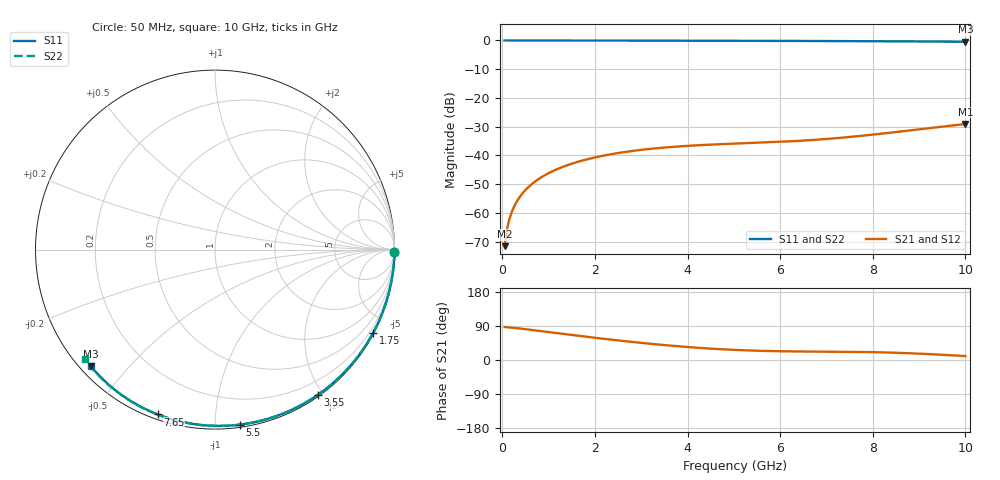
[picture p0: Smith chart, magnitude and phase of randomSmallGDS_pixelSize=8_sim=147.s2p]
! freq	dB(S11)	phase(S11)	dB(S12)	phase(S12)
!  dB(S21)	phase(S21)	dB(S22)	phase(S22)
!S-par simulation data
#  GHz  S  DB  R 50
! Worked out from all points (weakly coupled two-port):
!   200 points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, 50 MHz to 10 GHz, reference 50 ohm
!   highest |S21| = -29.08 dB at 10 GHz (marker M1); lowest = -71.6 dB at 50 MHz (marker M2)
!   lowest |S11| = -0.5 dB at 10 GHz (marker M3), VSWR 38.25, Z = 1.51 - j19.7 ohm
!   |S11| at or under -10 dB: nowhere
!   |S22| runs from -0.5 to 0.0 dB; largest |S21 - S12| = 0
!   S11 on the Smith chart (normalised r, x): 50 MHz: open; 1.75 GHz: 0.04, -4.06; 3.55 GHz: 0.02, -1.93; 5.5 GHz: 0.02, -1.15; 7.65 GHz: 0.02, -0.71; 10 GHz: 0.03, -0.39
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0.05  -0.00 -0.8  -71.60 87.3  -71.60 87.3  -0.00 -0.8
0.1  -0.00 -1.6  -65.79 86.4  -65.79 86.4  -0.00 -1.7
0.15  -0.00 -2.4  -62.37 85.9  -62.37 85.9  -0.00 -2.5
0.2  -0.00 -3.2  -59.92 85.4  -59.92 85.4  -0.00 -3.3
0.25  -0.00 -4.0  -58.01 84.8  -58.01 84.8  -0.00 -4.1
0.35  -0.00 -5.6  -55.12 83.5  -55.12 83.5  -0.00 -5.8
0.5  -0.01 -8.0  -52.06 81.4  -52.06 81.4  -0.01 -8.2
0.7  -0.01 -11.2  -49.19 78.3  -49.19 78.3  -0.01 -11.5
1  -0.02 -16.0  -46.19 73.7  -46.19 73.7  -0.02 -16.4
1.35  -0.03 -21.5  -43.74 68.3  -43.74 68.3  -0.03 -22.0
1.75  -0.04 -27.7  -41.71 62.3  -41.71 62.3  -0.04 -28.4
2.5  -0.05 -39.2  -39.18 51.7  -39.18 51.7  -0.05 -40.2
3.4  -0.07 -52.6  -37.41 40.5  -37.41 40.5  -0.07 -53.9
3.55  -0.07 -54.8  -37.20 38.8  -37.20 38.8  -0.08 -56.1
4.3  -0.09 -65.5  -36.41 31.6  -36.41 31.6  -0.10 -67.0
5.05  -0.12 -75.9  -35.89 26.5  -35.89 26.5  -0.12 -77.6
5.5  -0.13 -81.9  -35.61 24.5  -35.61 24.5  -0.14 -83.8
6.7  -0.19 -97.4  -34.65 22.3  -34.65 22.3  -0.19 -99.6
7.65  -0.24 -109.2  -33.36 21.4  -33.36 21.4  -0.25 -111.5
8.35  -0.30 -117.6  -32.15 19.7  -32.15 19.7  -0.30 -120.1
9.2  -0.37 -127.6  -30.57 15.7  -30.57 15.7  -0.38 -130.3
10  -0.45 -136.9  -29.08 10.4  -29.08 10.4  -0.46 -139.8
